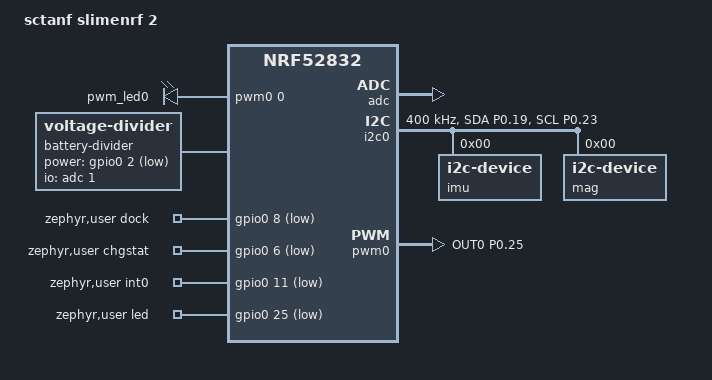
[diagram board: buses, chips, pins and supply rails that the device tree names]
// Copyright (c) 2023 Nordic Semiconductor ASA
// SPDX-License-Identifier: Apache-2.0

/dts-v1/;
#include <nordic/nrf52832_ciaa.dtsi>

//move to dtsi?
&pinctrl {
	i2c0_default: i2c0_default {
		group1 {
			psels = <NRF_PSEL(TWIM_SDA, 0, 19)>,
				<NRF_PSEL(TWIM_SCL, 0, 23)>;
		};
	};

	i2c0_sleep: i2c0_sleep {
		group1 {
			psels = <NRF_PSEL(TWIM_SDA, 0, 19)>,
				<NRF_PSEL(TWIM_SCL, 0, 23)>;
			low-power-enable;
		};
	};

	pwm0_default: pwm0_default {
		group1 {
			psels = <NRF_PSEL(PWM_OUT0, 0, 25)>;
			nordic,invert;
		};
	};

	pwm0_sleep: pwm0_sleep {
		group1 {
			psels = <NRF_PSEL(PWM_OUT0, 0, 25)>;
			low-power-enable;
		};
	};

};
//end

/ {
	model = "sctanf slimenrf 2";
	compatible = "sctanf-slimenrf-2";

	chosen {
		zephyr,sram = &sram0;
		zephyr,flash = &flash0;
		zephyr,code-partition = &slot0_partition;
	};

	pwmleds {
		compatible = "pwm-leds";
		pwm_led0: pwm_led_0 {
			pwms = <&pwm0 0 PWM_MSEC(20) PWM_POLARITY_INVERTED>;
		};
	};

	battery-divider {
		compatible = "voltage-divider";
		status = "okay";
		io-channels = <&adc 1>;
		output-ohms = <510000>;
		full-ohms = <(1000000+510000)>;
		power-gpios = <&gpio0 2 (GPIO_OPEN_DRAIN|GPIO_ACTIVE_LOW)>;
	};

	zephyr,user {
		dock-gpios = <&gpio0 8 (GPIO_PULL_UP|GPIO_ACTIVE_LOW)>;
		chgstat-gpios = <&gpio0 6 (GPIO_PULL_UP|GPIO_ACTIVE_LOW)>;
		int0-gpios = <&gpio0 11 (GPIO_PULL_UP|GPIO_ACTIVE_LOW)>;
		led-gpios = <&gpio0 25 (GPIO_OPEN_DRAIN|GPIO_ACTIVE_LOW)>;
	};

};

&flash0 {
	partitions {
		compatible = "fixed-partitions";
		#address-cells = <1>;
		#size-cells = <1>;

		boot_partition: partition@0 {
			label = "mcuboot";
			reg = <0x0 0xc000>;
		};
		slot0_partition: partition@c000 {
			label = "image-0";
			reg = <0xc000 0x32000>;
		};
		slot1_partition: partition@3e000 {
			label = "image-1";
			reg = <0x3e000 0x32000>;
		};
		scratch_partition: partition@70000 {
			label = "image-scratch";
			reg = <0x70000 0xa000>;
		};
		storage_partition: partition@7a000 {
			label = "storage";
			reg = <0x7a000 0x6000>;
		};
	};
};

&adc {
	status = "okay";
};

&gpiote {
	status = "okay";
};

&gpio0 {
	status = "okay";
};

&i2c0 {
	compatible = "nordic,nrf-twim";
	status = "okay";
	clock-frequency = <I2C_BITRATE_FAST>;
	pinctrl-0 = <&i2c0_default>;
	pinctrl-1 = <&i2c0_sleep>;
	pinctrl-names = "default", "sleep";

	imu: imu@0 { // any address out of range (00, 7f, etc. will search all addresses and stored address first if available, specify an address here to search first otherwise
		compatible = "i2c-device";
		label = "imu";
		reg = <0>;
	};

	mag: mag@0 {
		compatible = "i2c-device";
		label = "mag";
		reg = <0>;
	};

};

&pwm0 {
	status = "okay";
	pinctrl-0 = <&pwm0_default>;
	pinctrl-1 = <&pwm0_sleep>;
	pinctrl-names = "default", "sleep";
};

&nfct {
	status = "disabled";
};
